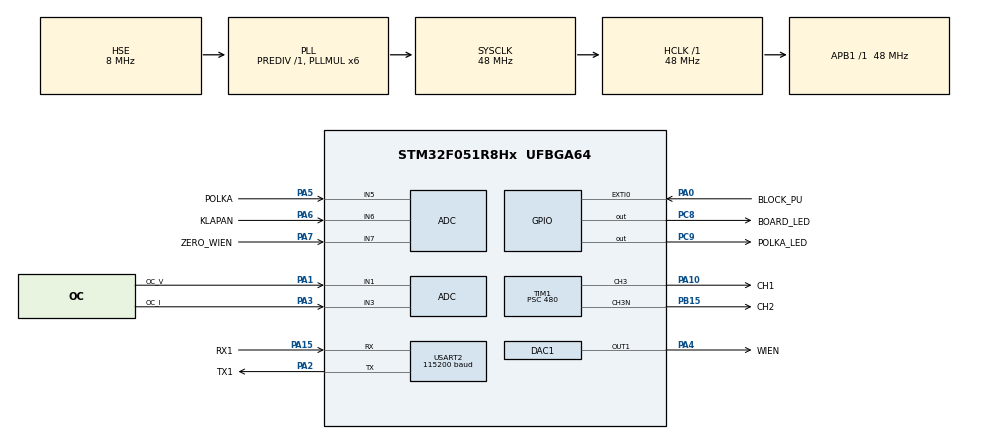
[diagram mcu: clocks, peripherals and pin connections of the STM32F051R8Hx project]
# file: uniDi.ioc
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ADC.ContinuousConvMode=ENABLE
ADC.DMAContinuousRequests=ENABLE
ADC.SamplingTime=ADC_SAMPLETIME_239CYCLES_5
DAC1.DAC_Trigger=DAC_TRIGGER_T2_TRGO
Dma.ADC.2.Direction=DMA_PERIPH_TO_MEMORY
Dma.ADC.2.Instance=DMA1_Channel1
Dma.ADC.2.MemDataAlignment=DMA_MDATAALIGN_HALFWORD
Dma.ADC.2.MemInc=DMA_MINC_ENABLE
Dma.ADC.2.Mode=DMA_NORMAL
Dma.ADC.2.PeriphDataAlignment=DMA_PDATAALIGN_HALFWORD
Dma.ADC.2.PeriphInc=DMA_PINC_DISABLE
Dma.ADC.2.Priority=DMA_PRIORITY_HIGH
Dma.Request0=USART2_RX
Dma.Request1=USART2_TX
Dma.Request2=ADC
Dma.USART2_RX.0.Direction=DMA_PERIPH_TO_MEMORY
Dma.USART2_RX.0.Instance=DMA1_Channel5
Dma.USART2_RX.0.MemDataAlignment=DMA_MDATAALIGN_BYTE
Dma.USART2_RX.0.MemInc=DMA_MINC_ENABLE
Dma.USART2_RX.0.Mode=DMA_CIRCULAR
Dma.USART2_RX.0.PeriphDataAlignment=DMA_PDATAALIGN_BYTE
Dma.USART2_RX.0.PeriphInc=DMA_PINC_DISABLE
Dma.USART2_RX.0.Priority=DMA_PRIORITY_LOW
Dma.USART2_TX.1.Direction=DMA_MEMORY_TO_PERIPH
Dma.USART2_TX.1.Instance=DMA1_Channel4
Dma.USART2_TX.1.MemDataAlignment=DMA_MDATAALIGN_BYTE
Dma.USART2_TX.1.MemInc=DMA_MINC_ENABLE
Dma.USART2_TX.1.Mode=DMA_CIRCULAR
Dma.USART2_TX.1.PeriphDataAlignment=DMA_PDATAALIGN_BYTE
Dma.USART2_TX.1.PeriphInc=DMA_PINC_DISABLE
Dma.USART2_TX.1.Priority=DMA_PRIORITY_LOW
Mcu.Family=STM32F0
Mcu.Name=STM32F051R8Hx
Mcu.Package=UFBGA64
NVIC.DMA1_Channel1_IRQn=true\:0\:0\:false\:false\:true\:false\:true
NVIC.DMA1_Channel4_5_IRQn=true\:0\:0\:false\:false\:true\:false\:true
NVIC.EXTI0_1_IRQn=true\:0\:0\:false\:false\:true\:true\:true
NVIC.TIM1_BRK_UP_TRG_COM_IRQn=true\:0\:0\:false\:false\:true\:true\:true
NVIC.TIM1_CC_IRQn=true\:0\:0\:false\:false\:true\:true\:true
NVIC.TIM2_IRQn=true\:0\:0\:false\:false\:true\:true\:true
NVIC.TIM6_DAC_IRQn=true\:0\:0\:false\:false\:true\:true\:true
PA0.GPIO_Label=BLOCK_PU
PA0.GPIO_ModeDefaultEXTI=GPIO_MODE_IT_RISING_FALLING
PA0.GPIO_PuPd=GPIO_PULLUP
PA0.Signal=GPXTI0
PA1.GPIO_Label=OC_V
PA1.Mode=IN1
PA1.Signal=ADC_IN1
PA10.GPIO_Label=CH1
PA10.GPIO_PuPd=GPIO_PULLDOWN
PA10.GPIO_Speed=GPIO_SPEED_FREQ_HIGH
PA10.Signal=S_TIM1_CH3
PA13.GPIO_Label=DIO
PA13.Mode=Serial_Wire
PA13.Signal=SYS_SWDIO
PA14.GPIO_Label=CLK
PA14.Mode=Serial_Wire
PA14.Signal=SYS_SWCLK
PA15.GPIO_Label=RX1
PA15.Mode=Asynchronous
PA15.Signal=USART2_RX
PA2.GPIO_Label=TX1
PA2.Mode=Asynchronous
PA2.Signal=USART2_TX
PA3.GPIO_Label=OC_I
PA3.Mode=IN3
PA3.Signal=ADC_IN3
PA4.GPIO_Label=WIEN
PA4.Signal=COMP_DAC11_group
PA5.GPIO_Label=POLKA
PA5.Mode=IN5
PA5.Signal=ADC_IN5
PA6.GPIO_Label=KLAPAN
PA6.Mode=IN6
PA6.Signal=ADC_IN6
PA7.GPIO_Label=ZERO_WIEN
PA7.Mode=IN7
PA7.Signal=ADC_IN7
PB15.GPIO_Label=CH2
PB15.GPIO_PuPd=GPIO_PULLDOWN
PB15.GPIO_Speed=GPIO_SPEED_FREQ_HIGH
PB15.Mode=Output Compare3 CH3 CH3N
PB15.Signal=TIM1_CH3N
PC14-OSC32_IN.GPIO_Label=OSC32_IN
PC14-OSC32_IN.Mode=LSE-External-Oscillator
PC14-OSC32_IN.Signal=RCC_OSC32_IN
PC15-OSC32_OUT.GPIO_Label=OSC32_OUT
PC15-OSC32_OUT.Mode=LSE-External-Oscillator
PC15-OSC32_OUT.Signal=RCC_OSC32_OUT
PC8.GPIO_Label=BOARD_LED
PC8.GPIO_Speed=GPIO_SPEED_FREQ_HIGH
PC8.Signal=GPIO_Output
PC9.GPIO_Label=POLKA_LED
PC9.GPIO_Speed=GPIO_SPEED_FREQ_HIGH
PC9.Signal=GPIO_Output
PF0-OSC_IN.GPIO_Label=OSC_IN
PF0-OSC_IN.Mode=HSE-External-Oscillator
PF0-OSC_IN.Signal=RCC_OSC_IN
PF1-OSC_OUT.GPIO_Label=OSC_OUT
PF1-OSC_OUT.Mode=HSE-External-Oscillator
PF1-OSC_OUT.Signal=RCC_OSC_OUT
ProjectManager.HeapSize=0x200
ProjectManager.StackSize=0x400
ProjectManager.TargetToolchain=STM32CubeIDE
RCC.AHBFreq_Value=48000000
RCC.APB1Freq_Value=48000000
RCC.APB1TimFreq_Value=48000000
RCC.HCLKFreq_Value=48000000
RCC.PLLMUL=RCC_PLL_MUL6
RCC.PLLSourceVirtual=RCC_PLLSOURCE_HSE
RCC.SYSCLKFreq_VALUE=48000000
RCC.SYSCLKSource=RCC_SYSCLKSOURCE_PLLCLK
SH.COMP_DAC11_group.0=DAC1_OUT1,DAC_OUT1
SH.S_TIM1_CH3.0=TIM1_CH3,Output Compare3 CH3 CH3N
TIM1.AutoReloadPreload=TIM_AUTORELOAD_PRELOAD_ENABLE
TIM1.Channel-Output\ Compare3\ CH3\ CH3N=TIM_CHANNEL_3
TIM1.DeadTime=200
TIM1.OCMode_3=TIM_OCMODE_TOGGLE
TIM1.Period=1000
TIM1.Prescaler=480
TIM1.Pulse-Output\ Compare3\ CH3\ CH3N=500
TIM2.AutoReloadPreload=TIM_AUTORELOAD_PRELOAD_ENABLE
TIM2.Period=1000
TIM2.TIM_MasterOutputTrigger=TIM_TRGO_UPDATE
USART2.BaudRate=115200
USART2.VirtualMode-Asynchronous=VM_ASYNC
VP_CRC_VS_CRC.Mode=CRC_Activate
VP_IWDG_VS_IWDG.Mode=IWDG_Activate
VP_TIM1_VS_ClockSourceINT.Mode=Internal
VP_TIM2_VS_ClockSourceINT.Mode=Internal
board=custom

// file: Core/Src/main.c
/* USER CODE BEGIN Header */
/**
  ******************************************************************************
  * @file           : main.c
  * @brief          : Main program body
  ******************************************************************************
  * @attention
  *
  * <h2><center>&copy; Copyright (c) 2019 STMicroelectronics.
  * All rights reserved.</center></h2>
  *
  * This software component is licensed by ST under BSD 3-Clause license,
  * the "License"; You may not use this file except in compliance with the
  * License. You may obtain a copy of the License at:
  *                        opensource.org/licenses/BSD-3-Clause
  *
  ******************************************************************************
  */
/* USER CODE END Header */

#include "main.h"
#include "adc.h"
#include "crc.h"
#include "dac.h"
#include "dma.h"
#include "iwdg.h"
#include "tim.h"
#include "usart.h"
#include "gpio.h"

/* USER CODE BEGIN Includes */

#include "digiTOS/digiTOS-IWDG.h"
#include "digiTOS/digiTOS-Core.h"
#include "digiTOS/digiTOS-50Hz.h"
#include "digiTOS/digiTOS-DAC_Sinus.h"

/* USER CODE END Includes */

void SystemClock_Config(void);

int main(void)
{
  /* USER CODE BEGIN 1 */

	// Enable Debug
	EnableDebugMode();

  /* USER CODE END 1 */

  /* MCU Configuration--------------------------------------------------------*/

  /* Reset of all peripherals, Initializes the Flash interface and the Systick. */
  HAL_Init();

  /* Configure the system clock */
  SystemClock_Config();

  /* Initialize all configured peripherals */
  MX_GPIO_Init();
  MX_DMA_Init();
  MX_ADC_Init();
  MX_CRC_Init();
  MX_DAC1_Init();
  MX_IWDG_Init();
  MX_TIM1_Init();
  MX_TIM2_Init();
  MX_USART2_UART_Init();
  /* USER CODE BEGIN 2 */

  	// Reset All to Default
    DigiTOS_IWDG_Init(DigiTOS_IWDG_Timeout_16s);// WatchDog

    BlinkLEDs(10,100);

    UseSoftStart=1;
    HAL_GPIO_EXTI_Callback(BLOCK_PU_Pin); // Get State of Block Pin

    //PWM_50Hz_ON();
    //PWM_50Hz_OFF();

    DAC_SINUS_INIT();

    Set50Hz();
    //Set505Hz();

    StartADC();

  /* USER CODE END 2 */

  /* Infinite loop */
  /* USER CODE BEGIN WHILE */
  while (1)
  {
	  Check50Hz(); // Check if need to start\stop generator

	  ResetWDG(); // Reset WatchDog

    /* USER CODE END WHILE */

  }
}

void SystemClock_Config(void)
{
  RCC_OscInitTypeDef RCC_OscInitStruct = {0};
  RCC_ClkInitTypeDef RCC_ClkInitStruct = {0};

  /** Initializes the CPU, AHB and APB busses clocks
  */
  RCC_OscInitStruct.OscillatorType = RCC_OSCILLATORTYPE_HSI14|RCC_OSCILLATORTYPE_LSI
                              |RCC_OSCILLATORTYPE_HSE;
  RCC_OscInitStruct.HSEState = RCC_HSE_ON;
  RCC_OscInitStruct.HSI14State = RCC_HSI14_ON;
  RCC_OscInitStruct.HSI14CalibrationValue = 16;
  RCC_OscInitStruct.LSIState = RCC_LSI_ON;
  RCC_OscInitStruct.PLL.PLLState = RCC_PLL_ON;
  RCC_OscInitStruct.PLL.PLLSource = RCC_PLLSOURCE_HSE;
  RCC_OscInitStruct.PLL.PLLMUL = RCC_PLL_MUL6;
  RCC_OscInitStruct.PLL.PREDIV = RCC_PREDIV_DIV1;
  if (HAL_RCC_OscConfig(&RCC_OscInitStruct) != HAL_OK)
  {
    Error_Handler();
  }
  /** Initializes the CPU, AHB and APB busses clocks
  */
  RCC_ClkInitStruct.ClockType = RCC_CLOCKTYPE_HCLK|RCC_CLOCKTYPE_SYSCLK
                              |RCC_CLOCKTYPE_PCLK1;
  RCC_ClkInitStruct.SYSCLKSource = RCC_SYSCLKSOURCE_PLLCLK;
  RCC_ClkInitStruct.AHBCLKDivider = RCC_SYSCLK_DIV1;
  RCC_ClkInitStruct.APB1CLKDivider = RCC_HCLK_DIV1;

  if (HAL_RCC_ClockConfig(&RCC_ClkInitStruct, FLASH_LATENCY_1) != HAL_OK)
  {
    Error_Handler();
  }
}

/* USER CODE BEGIN 4 */

void HAL_GPIO_EXTI_Callback(uint16_t GPIO_Pin)
{
  if(GPIO_Pin==BLOCK_PU_Pin) {
	  	  	  if (HAL_GPIO_ReadPin(BLOCK_PU_GPIO_Port, BLOCK_PU_Pin)==GPIO_PIN_RESET) {
	  			  BlockGenerator=0; // Unblock Generator
	  		  } else {
	  			  BlockGenerator=1; //Block Generator
	  		  }
  }
}

/* USER CODE END 4 */

void Error_Handler(void)
{
}

/************************ (C) COPYRIGHT STMicroelectronics *****END OF FILE****/
